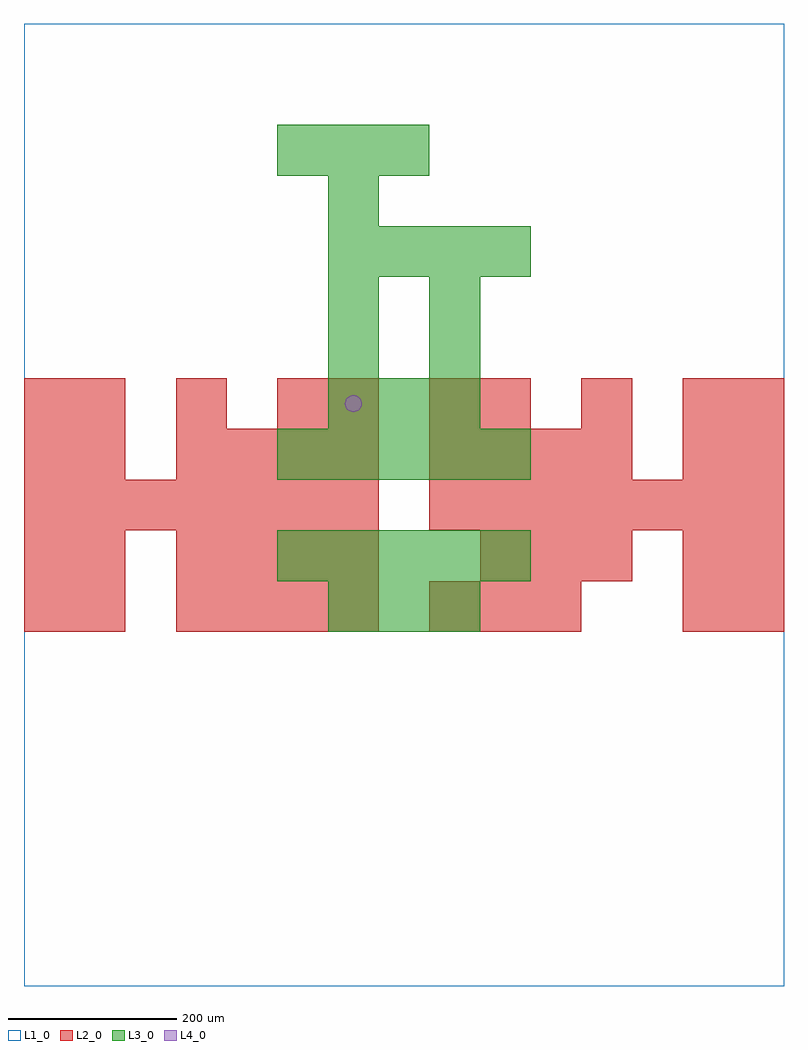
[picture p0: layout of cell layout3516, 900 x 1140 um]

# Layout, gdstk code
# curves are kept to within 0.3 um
import gdstk
lib = gdstk.Library(unit=1e-6, precision=1e-09)
def R(c, l, rs):  # rectangles x0, y0, x1, y1
    for r in rs: c.add(gdstk.rectangle(r[:2], r[2:], *l))
def A(c, l, x, y, w, h, nx, ny, dx, dy):  # array of equal rectangles
    R(c, l, [(x+i*dx, y+j*dy, x+i*dx+w, y+j*dy+h) for i in range(nx) for j in range(ny)])
def P(c, l, *ps):  # polygons
    for p in ps: c.add(gdstk.Polygon(p, *l))
L1_0 = (1, 0)
L2_0 = (2, 0)
L3_0 = (3, 0)
L4_0 = (4, 0)

layout3516 = lib.new_cell('layout3516')
R(layout3516, L1_0, [(0,0,900,1140)])
A(layout3516, L2_0, 180, 420, 60, 60, 4, 2, 60, 60)
A(layout3516, L2_0, 480, 420, 60, 60, 3, 1, 60, 0)
A(layout3516, L2_0, 540, 480, 60, 60, 3, 1, 60, 0)
A(layout3516, L2_0, 0, 540, 60, 60, 7, 1, 60, 0)
A(layout3516, L2_0, 480, 540, 60, 60, 7, 1, 60, 0)
A(layout3516, L2_0, 180, 600, 60, 60, 4, 1, 60, 0)
A(layout3516, L2_0, 480, 600, 60, 60, 4, 1, 60, 0)
A(layout3516, L2_0, 60, 660, 60, 60, 3, 1, 120, 0)
A(layout3516, L2_0, 540, 660, 60, 60, 3, 1, 120, 0)
R(layout3516, L2_0, [(0,420,60,480), (60,420,120,480), (780,420,840,480), (840,420,900,480), (0,480,60,540), (60,480,120,540), (780,480,840,540), (840,480,900,540), (0,600,60,660), (60,600,120,660), (780,600,840,660), (840,600,900,660), (0,660,60,720), (360,660,420,720), (480,660,540,720), (840,660,900,720)])
A(layout3516, L3_0, 360, 420, 60, 60, 3, 2, 60, 240)
A(layout3516, L3_0, 300, 480, 60, 60, 5, 2, 60, 120)
A(layout3516, L3_0, 360, 840, 60, 60, 4, 1, 60, 0)
A(layout3516, L3_0, 300, 960, 60, 60, 3, 1, 60, 0)
R(layout3516, L3_0, [(360,720,420,780), (480,720,540,780), (360,780,420,840), (480,780,540,840), (360,900,420,960)])
P(layout3516, L4_0, [(400,690),(399.239,693.827),(397.071,697.071),(393.827,699.239),(390,700),(386.173,699.239),(382.929,697.071),(380.761,693.827),(380,690),(380.761,686.173),(382.929,682.929),(386.173,680.761),(390,680),(393.827,680.761),(397.071,682.929),(399.239,686.173)])

lib.write_gds('layout3516.gds')
